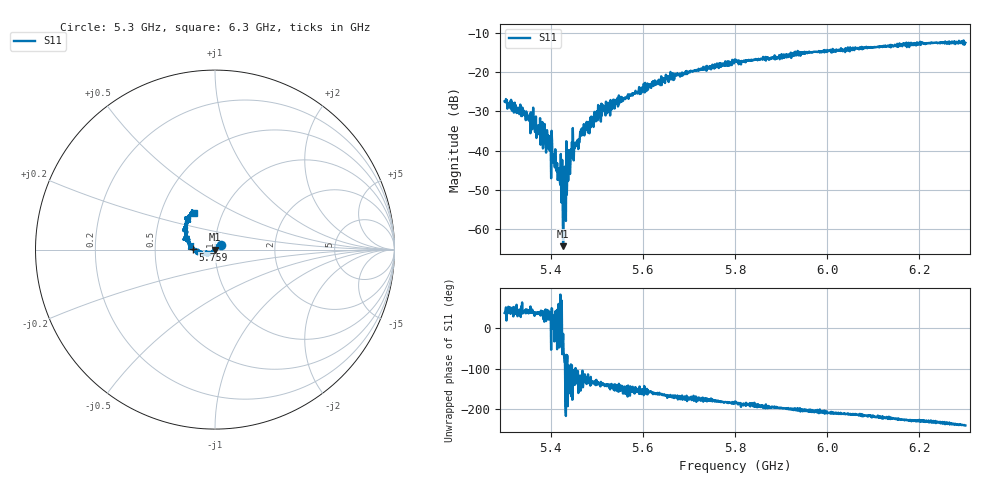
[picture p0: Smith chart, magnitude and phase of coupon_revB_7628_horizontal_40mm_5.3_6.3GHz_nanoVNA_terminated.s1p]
! NanoVNA-App
! Date: 2026-11-01 21:48:45
! Start: 5,3GHz Stop: 6,3GHz Points: 1001
! S-Parameter data: F S11
# Hz S RI R 50
!  Frequency  S11_Real  S11_Imag
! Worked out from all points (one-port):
!   1001 points, 5.3 GHz to 6.3 GHz, reference 50 ohm
!   lowest |S11| = -64.3 dB at 5.427 GHz (marker M1), VSWR 1.00, Z = 50.1 - j0.0147 ohm
!   |S11| at or under -10 dB: start of sweep to end of sweep
!   S11 on the Smith chart (normalised r, x): 5.3 GHz: 1.07, +0.06; 5.759 GHz: 0.78, +0.00; 6.3 GHz: 0.73, +0.32
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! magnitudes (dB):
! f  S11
! 5.3 GHz  -27.4
! 5.339 GHz  -29.1
! 5.372 GHz  -34.8
! 5.383 GHz  -39.4
! 5.392 GHz  -34.7
! 5.42 GHz  -48.0
! 5.423 GHz  -53.1
! 5.425 GHz  -42.3
! 5.427 GHz  -64.3
! 5.428 GHz  -57.5
! 5.429 GHz  -46.0
! 5.431 GHz  -44.0
! 5.434 GHz  -37.6
! 5.437 GHz  -43.7
! 5.439 GHz  -39.8
! 5.44 GHz  -42.3
! 5.444 GHz  -39.6
! 5.455 GHz  -38.8
! 5.467 GHz  -36.1
! 5.515 GHz  -28.5
! 5.55 GHz  -26.9
! 5.675 GHz  -20.2
! 5.759 GHz  -18.1
! 5.8 GHz  -16.8
! 5.925 GHz  -15.3
! 6.05 GHz  -13.7
! 6.175 GHz  -12.7
! 6.3 GHz  -12.5
